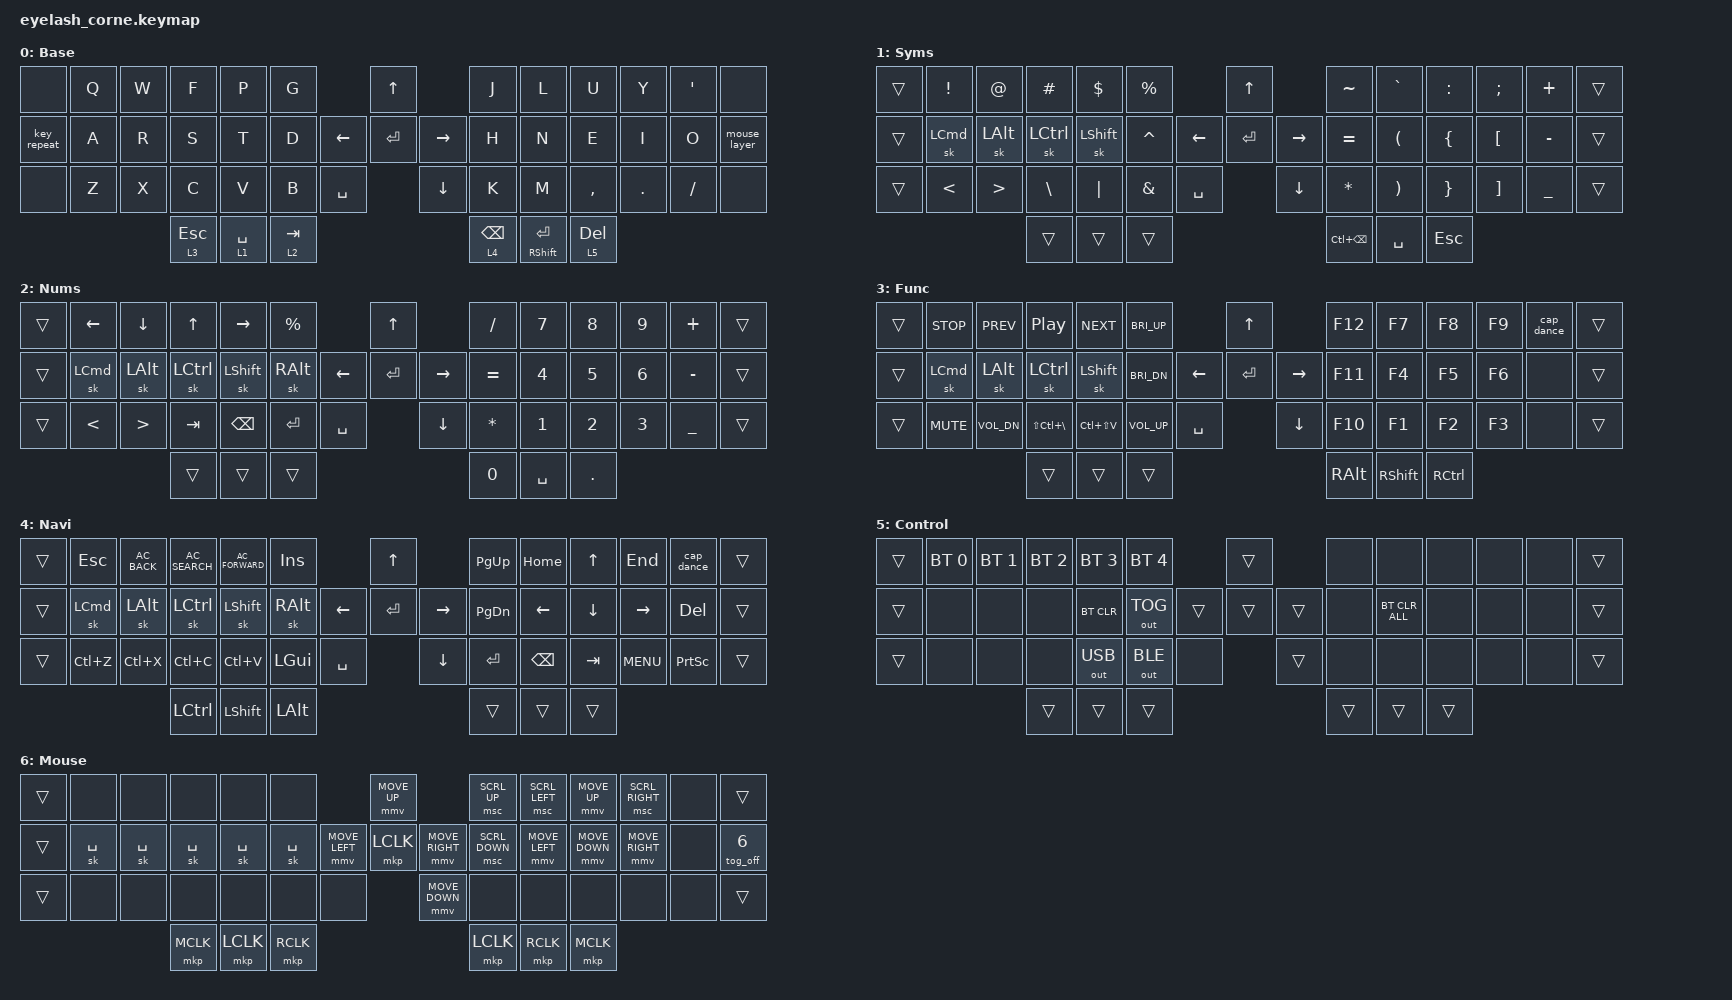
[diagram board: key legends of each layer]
#define ZMK_POINTING_DEFAULT_MOVE_VAL 1200  // 600
#define ZMK_POINTING_DEFAULT_SCRL_VAL 25   // 10

#include <input/processors.dtsi>
#include <zephyr/dt-bindings/input/input-event-codes.h>
#include <behaviors.dtsi>
#include <dt-bindings/zmk/bt.h>
#include <dt-bindings/zmk/keys.h>
#include <dt-bindings/zmk/outputs.h>
#include <dt-bindings/zmk/pointing.h>
#include <dt-bindings/zmk/rgb.h>

&mmv_input_listener { input-processors = <&zip_xy_scaler 2 1>; };

&msc_input_listener { input-processors = <&zip_scroll_scaler 2 1>; };

&msc {
    acceleration-exponent = <1>;      // 0
    time-to-max-speed-ms = <100>;       // 300
    delay-ms = <0>;                   // 0
};

&mmv {
    time-to-max-speed-ms = <500>;
    acceleration-exponent = <1>;
    trigger-period-ms = <16>;
};

/ {
    behaviors {
        td0: td0 {
            compatible = "zmk,behavior-tap-dance";
            display-name = "Shift/Caps Lock Tap Dance";
            #binding-cells = <0>;
            bindings = <&kp LEFT_SHIFT>, <&kp CAPS>;
        };

        ltq: ltq {
            compatible = "zmk,behavior-hold-tap";
            label = "LTQ";
            bindings = <&mo>, <&kp>;

            #binding-cells = <2>;
            tapping-term-ms = <200>;
            quick-tap-ms = <180>;
            flavor = "tap-preferred";
        };

        cap_dance: cap_dance {
            compatible = "zmk,behavior-tap-dance";
            label = "CAP_DANCE";
            #binding-cells = <0>;
            bindings = <&none>, <&kp CAPSLOCK>;
        };

        shift_enter: shift_enter {
            compatible = "zmk,behavior-hold-tap";
            label = "SHIFT_ENTER";
            bindings = <&sk>, <&kp>;

            #binding-cells = <2>;
            tapping-term-ms = <160>;
        };

        mouse_layer: mouse_layer {
            compatible = "zmk,behavior-tap-dance";
            label = "MOUSE_LAYER";
            #binding-cells = <0>;
            bindings = <&mo 6>, <&tog_on 6>;
        };

        tog_on: tog_on {
            compatible = "zmk,behavior-toggle-layer";
            label = "TOG_ON";
            #binding-cells = <1>;
        };

        tog_off: tog_off {
            compatible = "zmk,behavior-toggle-layer";
            label = "TOG_OFF";
            #binding-cells = <1>;
            toggle-mode = "off";
        };
    };

    rgb_encoder: rgb_encoder {
        compatible = "zmk,behavior-sensor-rotate";
        #sensor-binding-cells = <0>;
        bindings = <&rgb_ug RGB_BRI>, <&rgb_ug RGB_BRD>;
    };

    scroll_encoder: scroll_encoder {
        compatible = "zmk,behavior-sensor-rotate";
        #sensor-binding-cells = <0>;
        bindings = <&msc SCRL_DOWN>, <&msc SCRL_UP>;

        tap-ms = <100>;
    };

    keymap {
        compatible = "zmk,keymap";

        Base {
            bindings = <
&none        &kp Q  &kp W  &kp F          &kp P         &kp G                              &kp UP               &kp J             &kp L                     &kp U       &kp Y    &kp SQT   &none
&key_repeat  &kp A  &kp R  &kp S          &kp T         &kp D                    &kp LEFT  &kp RET   &kp RIGHT  &kp H             &kp N                     &kp E       &kp I    &kp O     &mouse_layer
&none        &kp Z  &kp X  &kp C          &kp V         &kp B       &kp SPACE              &kp DOWN             &kp K             &kp M                     &kp COMMA   &kp DOT  &kp FSLH  &none
                           &ltq 3 ESCAPE  &ltq 1 SPACE  &ltq 2 TAB                                              &ltq 4 BACKSPACE  &shift_enter RSHFT ENTER  &ltq 5 DEL
            >;

            label = "Base";
        };

        Symbols {
            bindings = <
&trans  &kp EXCLAMATION  &kp AT_SIGN       &kp HASH       &kp DOLLAR  &kp PERCENT                           &kp UP               &kp TILDE     &kp GRAVE              &kp COLON        &kp SEMICOLON      &kp PLUS        &trans
&trans  &sk LCMD         &sk LEFT_ALT      &sk LCTRL      &sk LSHFT   &kp CARET                   &kp LEFT  &kp RET   &kp RIGHT  &kp EQUAL     &kp LEFT_PARENTHESIS   &kp LEFT_BRACE   &kp LEFT_BRACKET   &kp MINUS       &trans
&trans  &kp LESS_THAN    &kp GREATER_THAN  &kp BACKSLASH  &kp PIPE    &kp AMPERSAND  &kp SPACE              &kp DOWN             &kp ASTERISK  &kp RIGHT_PARENTHESIS  &kp RIGHT_BRACE  &kp RIGHT_BRACKET  &kp UNDERSCORE  &trans
                                           &trans         &trans      &trans                                                     &kp LC(BSPC)  &kp SPACE              &kp ESCAPE
            >;

            label = "Syms";
        };

        Numbers {
            bindings = <
&trans  &kp LEFT       &kp DOWN          &kp UP     &kp RIGHT  &kp PERCENT                           &kp UP               &kp FSLH      &kp N7     &kp N8   &kp N9  &kp PLUS        &trans
&trans  &sk LCMD       &sk LEFT_ALT      &sk LCTRL  &sk LSHFT  &sk RIGHT_ALT               &kp LEFT  &kp RET   &kp RIGHT  &kp EQUAL     &kp N4     &kp N5   &kp N6  &kp MINUS       &trans
&trans  &kp LESS_THAN  &kp GREATER_THAN  &kp TAB    &kp BSPC   &kp RET        &kp SPACE              &kp DOWN             &kp ASTERISK  &kp N1     &kp N2   &kp N3  &kp UNDERSCORE  &trans
                                         &trans     &trans     &trans                                                     &kp N0        &kp SPACE  &kp DOT
            >;

            label = "Nums";
        };

        Function {
            bindings = <
&trans  &kp C_STOP  &kp C_PREV    &kp C_PLAY_PAUSE       &kp C_NEXT     &kp C_BRI_UP                         &kp UP               &kp F12        &kp F7     &kp F8     &kp F9  &cap_dance  &trans
&trans  &sk LCMD    &sk LEFT_ALT  &sk LCTRL              &sk LSHFT      &kp C_BRI_DN               &kp LEFT  &kp RET   &kp RIGHT  &kp F11        &kp F4     &kp F5     &kp F6  &none       &trans
&trans  &kp C_MUTE  &kp C_VOL_DN  &kp LS(LC(BACKSLASH))  &kp LC(LS(V))  &kp C_VOL_UP  &kp SPACE              &kp DOWN             &kp F10        &kp F1     &kp F2     &kp F3  &none       &trans
                                  &trans                 &trans         &trans                                                    &kp RIGHT_ALT  &kp RSHFT  &kp RCTRL
            >;

            label = "Func";
        };

        Navigation {
            bindings = <
&trans  &kp ESC    &kp C_AC_BACK  &kp C_AC_SEARCH  &kp C_AC_FORWARD  &kp INS                               &kp UP               &kp PG_UP  &kp HOME  &kp UP    &kp END     &cap_dance       &trans
&trans  &sk LCMD   &sk LEFT_ALT   &sk LCTRL        &sk LSHFT         &sk RIGHT_ALT               &kp LEFT  &kp RET   &kp RIGHT  &kp PG_DN  &kp LEFT  &kp DOWN  &kp RIGHT   &kp DEL          &trans
&trans  &kp LC(Z)  &kp LC(X)      &kp LC(C)        &kp LC(V)         &kp LEFT_GUI   &kp SPACE              &kp DOWN             &kp RET    &kp BSPC  &kp TAB   &kp C_MENU  &kp PRINTSCREEN  &trans
                                  &kp LCTRL        &kp LSHFT         &kp LEFT_ALT                                               &trans     &trans    &trans
            >;

            label = "Navi";
        };

        Control {
            bindings = <
&trans  &bt BT_SEL 0  &bt BT_SEL 1  &bt BT_SEL 2  &bt BT_SEL 3  &bt BT_SEL 4                   &trans          &none   &none           &none   &none  &none  &trans
&trans  &none         &none         &none         &bt BT_CLR    &out OUT_TOG           &trans  &trans  &trans  &none   &bt BT_CLR_ALL  &none   &none  &none  &trans
&trans  &none         &none         &none         &out OUT_USB  &out OUT_BLE  &none            &trans          &none   &none           &none   &none  &none  &trans
                                    &trans        &trans        &trans                                         &trans  &trans          &trans
            >;

            label = "Control";
        };

        Mouse {
            bindings = <
&trans  &none      &none      &none      &none      &none                               &mmv MOVE_UP                     &msc SCRL_UP    &msc SCRL_LEFT  &mmv MOVE_UP    &msc SCRL_RIGHT  &none  &trans
&trans  &sk SPACE  &sk SPACE  &sk SPACE  &sk SPACE  &sk SPACE           &mmv MOVE_LEFT  &mkp LCLK       &mmv MOVE_RIGHT  &msc SCRL_DOWN  &mmv MOVE_LEFT  &mmv MOVE_DOWN  &mmv MOVE_RIGHT  &none  &tog_off 6
&trans  &none      &none      &none      &none      &none      &none                    &mmv MOVE_DOWN                   &none           &none           &none           &none            &none  &trans
                              &mkp MCLK  &mkp LCLK  &mkp RCLK                                                            &mkp LCLK       &mkp RCLK       &mkp MCLK
            >;

            label = "Mouse";
        };
    };
};
